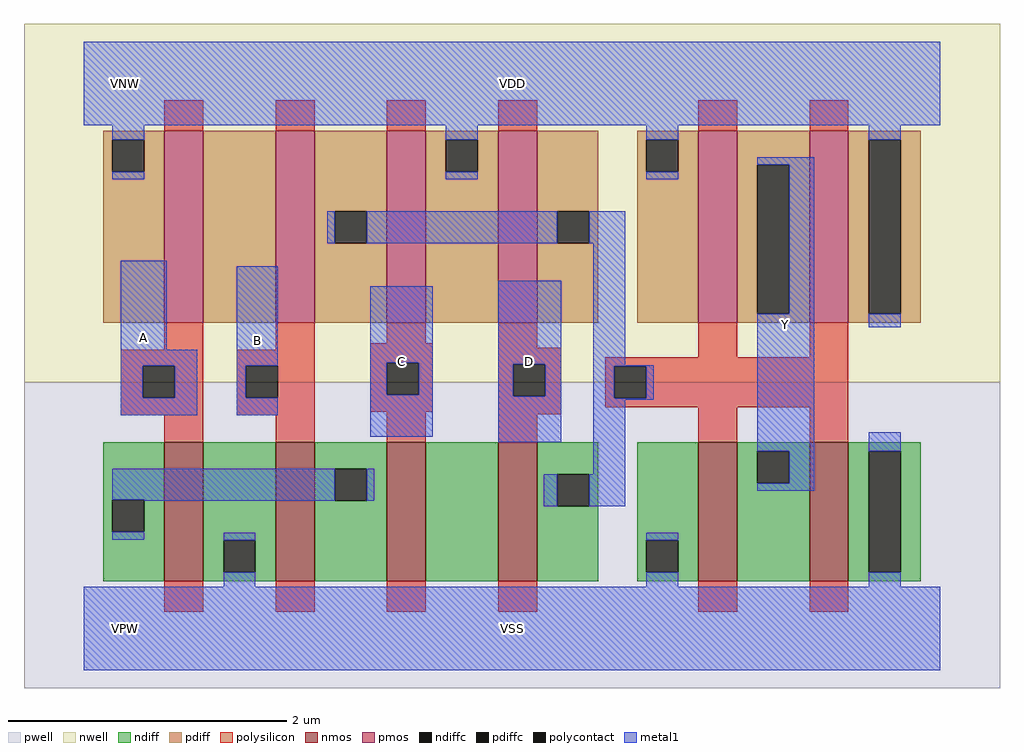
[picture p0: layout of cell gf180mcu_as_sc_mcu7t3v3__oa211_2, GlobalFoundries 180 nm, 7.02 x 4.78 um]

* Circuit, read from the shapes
.subckt gf180mcu_as_sc_mcu7t3v3__oa211_2 VDD VNW VPW VSS A B C D Y
XM1 VSS A n1 VPW nfet_03v3 w=1u l=0.28u
XM2 n1 B VSS VPW nfet_03v3 w=1u l=0.28u
XM3 n2 C n1 VPW nfet_03v3 w=1u l=0.28u
XM4 n3 D n2 VPW nfet_03v3 w=1u l=0.28u
XM5 Y n3 VSS VPW nfet_03v3 w=1u l=0.28u m=2
XM6 n4 A VDD VNW pfet_03v3 w=1.38u l=0.28u
XM7 n3 B n4 VNW pfet_03v3 w=1.38u l=0.28u
XM8 VDD C n3 VNW pfet_03v3 w=1.38u l=0.28u
XM9 n3 D VDD VNW pfet_03v3 w=1.38u l=0.28u
XM10 Y n3 VDD VNW pfet_03v3 w=1.38u l=0.28u m=2
.ends

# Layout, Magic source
magic
tech gf180mcuD
magscale 1 10
<< nwell >>
rect -86 354 1318 870
<< pwell >>
rect -86 -86 1318 354
<< nmos >>
rect 116 68 172 268
rect 276 68 332 268
rect 436 68 492 268
rect 596 68 652 268
rect 884 68 940 268
rect 1044 68 1100 268
<< pmos >>
rect 116 440 172 716
rect 276 440 332 716
rect 436 440 492 716
rect 596 440 652 716
rect 884 440 940 716
rect 1044 440 1100 716
<< ndiff >>
rect 28 185 116 268
rect 28 139 41 185
rect 87 139 116 185
rect 28 68 116 139
rect 172 127 276 268
rect 172 81 201 127
rect 247 81 276 127
rect 172 68 276 81
rect 332 230 436 268
rect 332 184 361 230
rect 407 184 436 230
rect 332 68 436 184
rect 492 68 596 268
rect 652 222 740 268
rect 652 176 681 222
rect 727 176 740 222
rect 652 68 740 176
rect 796 127 884 268
rect 796 81 809 127
rect 855 81 884 127
rect 796 68 884 81
rect 940 255 1044 268
rect 940 209 969 255
rect 1015 209 1044 255
rect 940 68 1044 209
rect 1100 255 1204 268
rect 1100 81 1129 255
rect 1175 81 1204 255
rect 1100 68 1204 81
<< pdiff >>
rect 28 703 116 716
rect 28 657 41 703
rect 87 657 116 703
rect 28 440 116 657
rect 172 440 276 716
rect 332 600 436 716
rect 332 554 361 600
rect 407 554 436 600
rect 332 440 436 554
rect 492 703 596 716
rect 492 657 521 703
rect 567 657 596 703
rect 492 440 596 657
rect 652 600 740 716
rect 652 554 681 600
rect 727 554 740 600
rect 652 440 740 554
rect 796 703 884 716
rect 796 657 809 703
rect 855 657 884 703
rect 796 440 884 657
rect 940 667 1044 716
rect 940 453 969 667
rect 1015 453 1044 667
rect 940 440 1044 453
rect 1100 703 1204 716
rect 1100 453 1129 703
rect 1175 453 1204 703
rect 1100 440 1204 453
<< ndiffc >>
rect 41 139 87 185
rect 201 81 247 127
rect 361 184 407 230
rect 681 176 727 222
rect 809 81 855 127
rect 969 209 1015 255
rect 1129 81 1175 255
<< pdiffc >>
rect 41 657 87 703
rect 361 554 407 600
rect 521 657 567 703
rect 681 554 727 600
rect 809 657 855 703
rect 969 453 1015 667
rect 1129 453 1175 703
<< polysilicon >>
rect 116 716 172 760
rect 276 716 332 760
rect 436 716 492 760
rect 596 716 652 760
rect 884 716 940 760
rect 1044 716 1100 760
rect 116 401 172 440
rect 276 401 332 440
rect 436 410 492 440
rect 53 378 172 401
rect 53 332 85 378
rect 131 332 172 378
rect 53 307 172 332
rect 220 378 332 401
rect 220 332 233 378
rect 279 332 332 378
rect 220 307 332 332
rect 412 382 502 410
rect 412 336 436 382
rect 482 336 502 382
rect 412 312 502 336
rect 596 404 652 440
rect 596 380 687 404
rect 884 390 940 440
rect 1044 390 1100 440
rect 596 334 618 380
rect 664 334 687 380
rect 116 268 172 307
rect 276 268 332 307
rect 436 268 492 312
rect 596 308 687 334
rect 750 377 1100 390
rect 750 331 763 377
rect 809 331 1100 377
rect 750 318 1100 331
rect 596 268 652 308
rect 884 268 940 318
rect 1044 268 1100 318
rect 116 24 172 68
rect 276 24 332 68
rect 436 24 492 68
rect 596 24 652 68
rect 884 24 940 68
rect 1044 24 1100 68
<< polycontact >>
rect 85 332 131 378
rect 233 332 279 378
rect 436 336 482 382
rect 618 334 664 380
rect 763 331 809 377
<< metal1 >>
rect 0 724 1232 844
rect 41 703 87 724
rect 41 646 87 657
rect 521 703 567 724
rect 521 646 567 657
rect 809 703 855 724
rect 1129 703 1175 724
rect 809 646 855 657
rect 969 667 1051 678
rect 350 554 361 600
rect 407 554 681 600
rect 727 554 779 600
rect 53 401 119 529
rect 53 378 163 401
rect 53 332 85 378
rect 131 332 163 378
rect 53 307 163 332
rect 220 378 279 521
rect 220 332 233 378
rect 220 307 279 332
rect 412 382 502 492
rect 412 336 436 382
rect 482 336 502 382
rect 412 276 502 336
rect 596 380 687 500
rect 596 334 618 380
rect 664 334 687 380
rect 596 268 687 334
rect 733 379 779 554
rect 1015 453 1051 667
rect 733 377 820 379
rect 733 331 763 377
rect 809 331 820 377
rect 733 329 820 331
rect 41 185 361 230
rect 87 184 361 185
rect 407 184 418 230
rect 733 222 779 329
rect 662 176 681 222
rect 727 176 779 222
rect 969 255 1051 453
rect 1129 433 1175 453
rect 1015 209 1051 255
rect 969 198 1051 209
rect 1129 255 1175 282
rect 41 128 87 139
rect 201 127 247 138
rect 201 60 247 81
rect 809 127 855 138
rect 809 60 855 81
rect 1129 60 1175 81
rect 0 -60 1232 60
<< labels >>
flabel metal1 s 0 724 1232 844 0 FreeSans 400 0 0 0 VDD
port 1 nsew power bidirectional abutment
flabel metal1 s 0 -60 1232 60 0 FreeSans 400 0 0 0 VSS
port 4 nsew ground bidirectional abutment
flabel nwell s 10 734 110 834 0 FreeSans 400 0 0 0 VNW
port 2 nsew power bidirectional
flabel pwell s 10 -50 110 50 0 FreeSans 400 0 0 0 VPW
port 3 nsew ground bidirectional
flabel metal1 s 53 307 119 529 0 FreeSans 200 0 0 0 A
port 5 nsew signal input
flabel metal1 s 220 307 279 521 0 FreeSans 200 0 0 0 B
port 6 nsew signal input
flabel metal1 s 412 276 502 492 0 FreeSans 200 0 0 0 C
port 7 nsew signal input
flabel metal1 s 596 268 687 500 0 FreeSans 200 0 0 0 D
port 8 nsew signal input
flabel metal1 s 969 198 1051 678 0 FreeSans 200 0 0 0 Y
port 9 nsew signal output
<< properties >>
string FIXED_BBOX 0 0 1232 784
string LEFclass CORE
string LEFsite unithd
string LEFsymmetry X Y
string MASKHINTS_NPLUS -16 -46 1248 354
string MASKHINTS_PPLUS -16 354 1248 830
<< end >>
